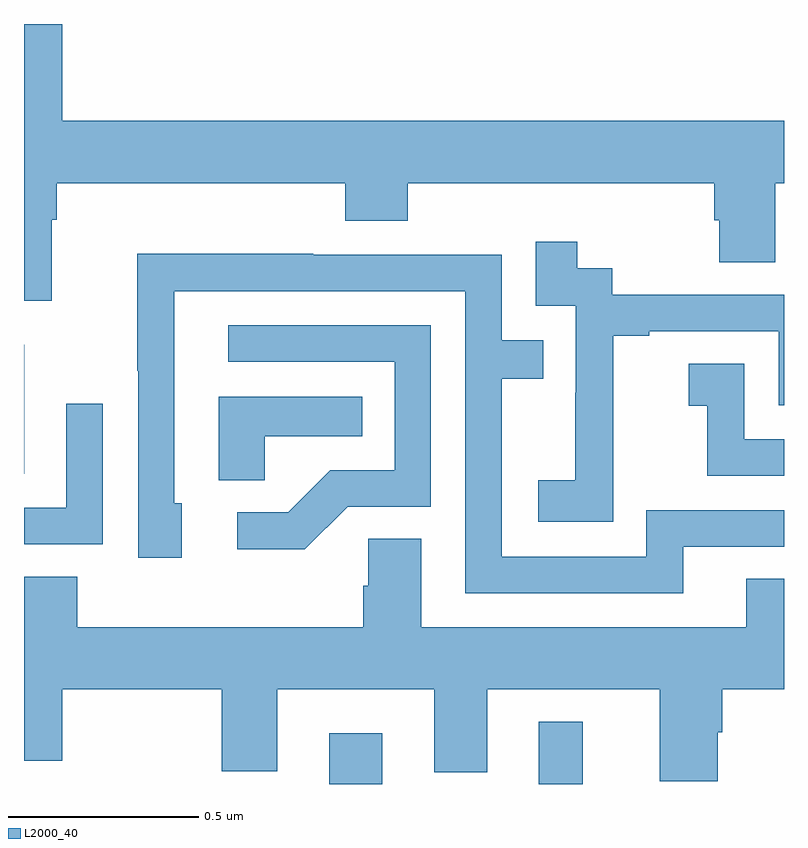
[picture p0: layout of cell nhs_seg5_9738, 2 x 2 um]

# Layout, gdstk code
import gdstk
lib = gdstk.Library(unit=1e-6, precision=1e-09)
def R(c, l, rs):  # rectangles x0, y0, x1, y1
    for r in rs: c.add(gdstk.rectangle(r[:2], r[2:], *l))
def P(c, l, *ps):  # polygons
    for p in ps: c.add(gdstk.Polygon(p, *l))
L2000_40 = (2000, 40)

nhs_seg5_9738 = lib.new_cell('nhs_seg5_9738')
R(nhs_seg5_9738, L2000_40, [(237.803,901.799,237.943,901.933), (238.355,901.799,238.471,901.963), (237,902.615,237.001,902.955)])
P(nhs_seg5_9738, L2000_40, [(237.073,903.284),(237.086,903.284),(237.086,903.38),(237.845,903.38),(237.845,903.281),(238.01,903.281),(238.01,903.38),(238.817,903.38),(238.817,903.282),(238.829,903.282),(238.829,903.172),(238.977,903.172),(238.977,903.38),(239,903.38),(239,903.544),(237.1,903.544),(237.1,903.799),(237,903.799),(237,903.071),(237.073,903.071)],
  [(238.551,902.695),(238.55,902.695),(238.55,902.979),(238.645,902.979),(238.645,902.991),(238.986,902.991),(238.986,902.796),(239,902.796),(239,903.087),(238.548,903.087),(238.548,903.156),(238.456,903.156),(238.456,903.226),(238.347,903.226),(238.347,903.057),(238.452,903.057),(238.452,902.828),(238.451,902.828),(238.451,902.599),(238.353,902.599),(238.353,902.489),(238.551,902.489)],
  [(238.735,902.424),(239,902.424),(239,902.52),(238.638,902.52),(238.638,902.397),(238.257,902.397),(238.257,902.866),(238.367,902.866),(238.367,902.967),(238.257,902.967),(238.257,903.192),(237.761,903.192),(237.761,903.194),(237.298,903.194),(237.298,902.887),(237.3,902.887),(237.3,902.394),(237.415,902.394),(237.415,902.538),(237.396,902.538),(237.396,903.096),(238.161,903.096),(238.161,902.301),(238.735,902.301)],
  [(237.852,902.529),(238.071,902.529),(238.071,903.006),(237.537,903.006),(237.537,902.91),(237.975,902.91),(237.975,902.625),(237.806,902.625),(237.695,902.514),(237.561,902.514),(237.561,902.417),(237.739,902.417)],
  [(239,902.706),(238.896,902.706),(238.896,902.905),(238.749,902.905),(238.749,902.795),(238.798,902.795),(238.798,902.61),(239,902.61)],
  [(237.633,902.714),(237.89,902.714),(237.89,902.818),(237.512,902.818),(237.512,902.599),(237.633,902.599)],
  [(237.207,902.8),(237.111,902.8),(237.111,902.526),(237,902.526),(237,902.43),(237.207,902.43)],
  [(238.825,901.935),(238.838,901.935),(238.838,902.048),(239,902.048),(239,902.339),(238.901,902.339),(238.901,902.212),(238.045,902.212),(238.045,902.444),(237.906,902.444),(237.906,902.321),(237.893,902.321),(237.893,902.212),(237.14,902.212),(237.14,902.345),(237,902.345),(237,901.86),(237.1,901.86),(237.1,902.048),(237.52,902.048),(237.52,901.832),(237.667,901.832),(237.667,902.048),(238.079,902.048),(238.079,901.83),(238.219,901.83),(238.219,902.048),(238.673,902.048),(238.673,901.806),(238.825,901.806)])

lib.write_gds('nhs_seg5_9738.gds')
